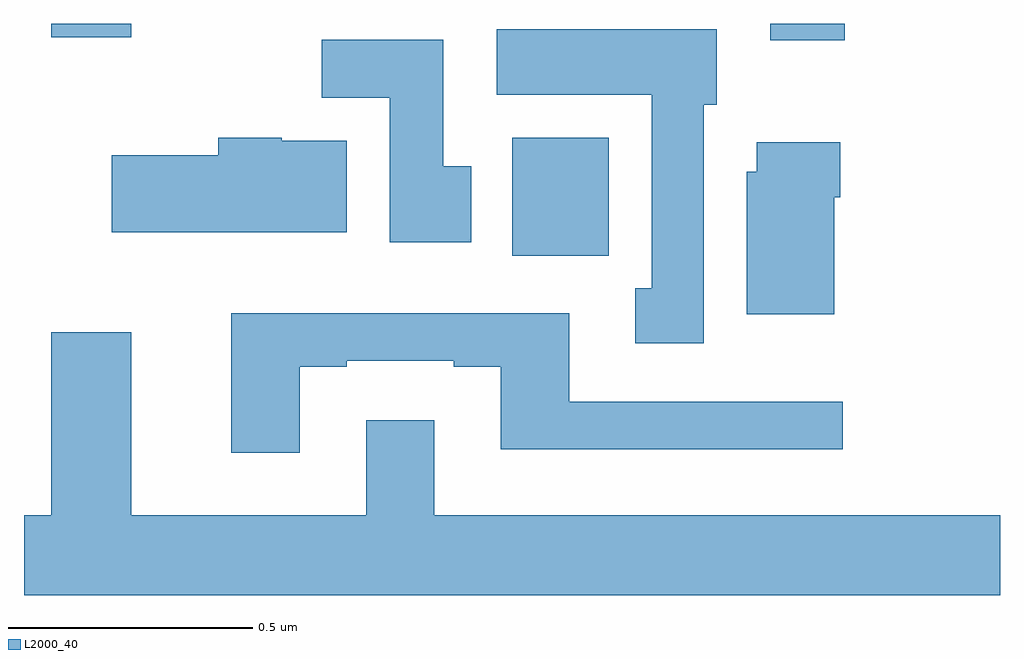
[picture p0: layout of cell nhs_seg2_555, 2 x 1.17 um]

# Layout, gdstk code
import gdstk
lib = gdstk.Library(unit=1e-6, precision=1e-09)
def R(c, l, rs):  # rectangles x0, y0, x1, y1
    for r in rs: c.add(gdstk.rectangle(r[:2], r[2:], *l))
def P(c, l, *ps):  # polygons
    for p in ps: c.add(gdstk.Polygon(p, *l))
L2000_40 = (2000, 40)

nhs_seg2_555 = lib.new_cell('nhs_seg2_555')
R(nhs_seg2_555, L2000_40, [(118.001,656.324,118.198,656.566), (118.529,656.766,118.682,656.8), (117.056,656.772,117.22,656.8)])
P(nhs_seg2_555, L2000_40, [(118.393,656.634),(118.42,656.634),(118.42,656.788),(117.969,656.788),(117.969,656.654),(118.286,656.654),(118.286,656.258),(118.253,656.258),(118.253,656.145),(118.393,656.145)],
  [(117.916,656.508),(117.859,656.508),(117.859,656.767),(117.61,656.767),(117.61,656.648),(117.749,656.648),(117.749,656.352),(117.916,656.352)],
  [(117.661,656.56),(117.528,656.56),(117.528,656.566),(117.398,656.566),(117.398,656.53),(117.18,656.53),(117.18,656.372),(117.661,656.372)],
  [(118.66,656.444),(118.673,656.444),(118.673,656.557),(118.502,656.557),(118.502,656.496),(118.481,656.496),(118.481,656.204),(118.66,656.204)],
  [(117.565,656.097),(117.661,656.097),(117.661,656.109),(117.881,656.109),(117.881,656.097),(117.977,656.097),(117.977,655.928),(118.678,655.928),(118.678,656.025),(118.117,656.025),(118.117,656.206),(117.425,656.206),(117.425,655.92),(117.565,655.92)],
  [(119,655.792),(117.841,655.792),(117.841,655.987),(117.701,655.987),(117.701,655.792),(117.22,655.792),(117.22,656.167),(117.056,656.167),(117.056,655.792),(117,655.792),(117,655.628),(119,655.628)])

lib.write_gds('nhs_seg2_555.gds')
